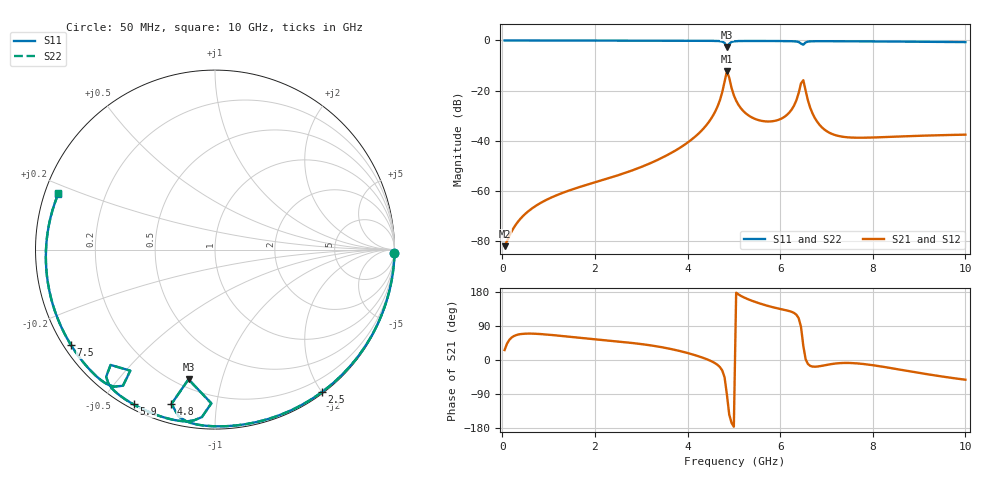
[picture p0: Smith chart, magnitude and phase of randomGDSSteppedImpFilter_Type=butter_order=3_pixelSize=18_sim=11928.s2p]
! freq	dB(S11)	phase(S11)	dB(S12)	phase(S12)
!  dB(S21)	phase(S21)	dB(S22)	phase(S22)
!S-par simulation data
#  GHz  S  DB  R 50
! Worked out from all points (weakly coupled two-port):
!   200 points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, 50 MHz to 10 GHz, reference 50 ohm
!   highest |S21| = -12.24 dB at 4.85 GHz (marker M1); lowest = -81.9 dB at 50 MHz (marker M2)
!   lowest |S11| = -2.6 dB at 4.85 GHz (marker M3), VSWR 6.62, Z = 12.4 - j39.3 ohm
!   |S11| at or under -10 dB: nowhere
!   |S22| runs from -2.6 to 0.0 dB; largest |S21 - S12| = 0
!   S11 on the Smith chart (normalised r, x): 50 MHz: open; 2.5 GHz: 0.02, -2.00; 4.8 GHz: 0.09, -0.75; 5.9 GHz: 0.02, -0.60; 7.5 GHz: 0.02, -0.30; 10 GHz: 0.04, +0.17
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0.05  -0.00 -1.1  -81.86 26.2  -81.86 26.2  -0.00 -1.1
0.35  -0.01 -7.6  -71.87 67.4  -71.87 67.4  -0.01 -7.6
0.65  -0.01 -14.1  -66.73 69.6  -66.73 69.6  -0.01 -14.1
1.75  -0.05 -37.5  -57.86 57.6  -57.86 57.6  -0.05 -37.5
2.5  -0.07 -53.1  -53.64 48.7  -53.64 48.7  -0.07 -53.1
3.4  -0.09 -71.2  -47.12 34.7  -47.12 34.7  -0.09 -71.2
4.4  -0.14 -91.5  -33.87 2.8  -33.87 2.8  -0.14 -91.5
4.65  -0.22 -98.0  -26.20 -13.1  -26.20 -13.1  -0.22 -98.0
4.8  -0.97 -105.8  -16.29 -45.7  -16.29 -45.7  -0.97 -105.8
4.85  -2.64 -101.5  -12.24 -90.9  -12.24 -90.9  -2.64 -101.5
4.9  -1.34 -91.4  -14.79 -143.8  -14.79 -143.8  -1.34 -91.4
5.05  -0.28 -99.0  -23.97 177.6  -23.97 177.6  -0.28 -99.0
5.4  -0.20 -107.6  -30.74 155.9  -30.74 155.9  -0.20 -107.7
5.9  -0.22 -117.8  -31.93 137.5  -31.93 137.5  -0.22 -117.8
6.25  -0.30 -125.5  -27.46 127.0  -27.46 127.0  -0.30 -125.5
6.4  -0.61 -130.6  -20.91 110.4  -20.91 110.4  -0.61 -130.6
6.5  -1.69 -125.0  -15.83 37.4  -15.83 37.4  -1.68 -125.0
6.7  -0.32 -129.7  -29.10 -17.3  -29.10 -17.3  -0.32 -129.8
7  -0.29 -136.5  -36.04 -13.0  -36.04 -13.0  -0.29 -136.6
7.5  -0.33 -146.4  -38.60 -7.8  -38.60 -7.8  -0.33 -146.4
8.35  -0.42 -163.1  -38.39 -20.5  -38.39 -20.5  -0.42 -163.1
10  -0.66 160.3  -37.49 -52.0  -37.49 -52.0  -0.66 160.2
